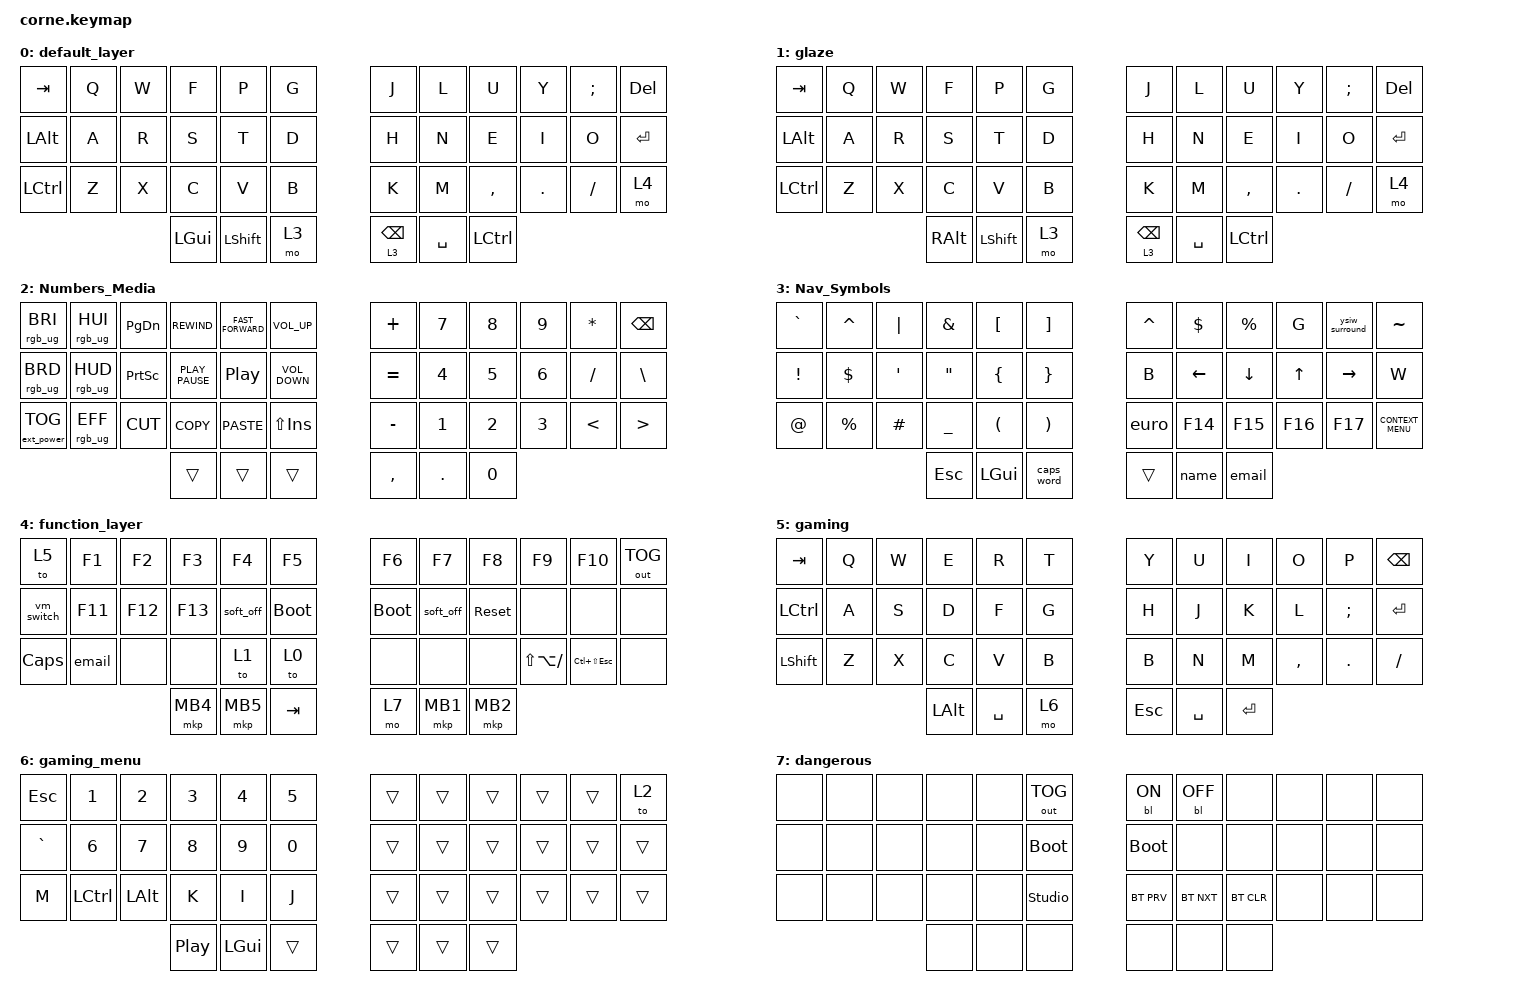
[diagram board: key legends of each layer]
#include <dt-bindings/zmk/mouse.h>
#include <behaviors.dtsi>
#include <dt-bindings/zmk/backlight.h>
#include <dt-bindings/zmk/bt.h>
#include <dt-bindings/zmk/ext_power.h>
#include <dt-bindings/zmk/keys.h>
#include <dt-bindings/zmk/outputs.h>
#include <dt-bindings/zmk/pointing.h>
#include <dt-bindings/zmk/rgb.h>

&led_strip { chain-length = <27>; };

/ {
    underglow {
        compatible = "zmk,rgb-underglow";
        label = "RGB Underglow";

        // Define total LED count

        chain-length = <27>;

        // Define the split for different effects

        segments = <6>, <21>;

        // Colors for each segment

        segment-colors =
            <0xFF0000>,
            // Red for the first 6 LEDs (underneath),,,,,,,,,,,,,,,,,
            <0x00FF00>;

        // Green for the next 21 LEDs (on top)
    };

    combos { compatible = "zmk,combos"; };

    macros {
        euro: euro {
            compatible = "zmk,behavior-macro";
            #binding-cells = <0>;
            bindings =
                <&macro_press>,
                <&kp LALT>,
                <&macro_tap>,
                <&kp KP_NUMBER_0 &kp KP_NUMBER_1 &kp KP_NUMBER_2 &kp KP_NUMBER_8>,
                <&macro_release>,
                <&kp LALT>;

            label = "EURO";
            wait-ms = <15>;
        };

        vm_switch: next_BG {
            compatible = "zmk,behavior-macro";
            #binding-cells = <0>;
            bindings = <&kp LC(LG(LA(ENTER)))>;
            label = "NEXT_BG";
            wait-ms = <15>;
        };

        email: email {
            compatible = "zmk,behavior-macro";
            #binding-cells = <0>;
            bindings = <&kp J &kp E &kp F &kp F &kp R &kp E &kp Y &kp DOT &kp C &kp O &kp R &kp N &kp I &kp L &kp L &kp I &kp E &kp AT &kp H &kp O &kp T &kp M &kp A &kp I &kp L &kp DOT &kp C &kp O &kp M>;
            label = "EMAIL";
        };

        name: name {
            compatible = "zmk,behavior-macro";
            #binding-cells = <0>;
            bindings = <&none &kp J &kp E &kp F &kp F &kp R &kp E &kp Y &kp SPACE &kp C &kp O &kp R &kp N &kp I &kp L &kp L &kp I &kp E>;
            label = "NAME";
        };

        ysiw_surround: ysiw_surround {
            compatible = "zmk,behavior-macro";
            #binding-cells = <0>;
            bindings = <&none &kp Y &kp S &kp I &kp W>;
            label = "YSIW_SURROUND";
        };
    };

    keymap {
        compatible = "zmk,keymap";

        default_layer {
            bindings = <
&kp TAB    &kp Q  &kp W  &kp F         &kp P           &kp G    &kp J            &kp L      &kp U      &kp Y    &kp SEMI  &kp DELETE
&kp LALT   &kp A  &kp R  &kp S         &kp T           &kp D    &kp H            &kp N      &kp E      &kp I    &kp O     &kp ENTER
&kp LCTRL  &kp Z  &kp X  &kp C         &kp V           &kp B    &kp K            &kp M      &kp COMMA  &kp DOT  &kp FSLH  &mo 4
                         &kp LEFT_GUI  &kp LEFT_SHIFT  &mo 3    &lt 3 BACKSPACE  &kp SPACE  &kp LCTRL
            >;
        };

        glaze {
            bindings = <
&kp TAB    &kp Q  &kp W  &kp F          &kp P           &kp G    &kp J            &kp L      &kp U      &kp Y    &kp SEMI  &kp DELETE
&kp LALT   &kp A  &kp R  &kp S          &kp T           &kp D    &kp H            &kp N      &kp E      &kp I    &kp O     &kp ENTER
&kp LCTRL  &kp Z  &kp X  &kp C          &kp V           &kp B    &kp K            &kp M      &kp COMMA  &kp DOT  &kp FSLH  &mo 4
                         &kp RIGHT_ALT  &kp LEFT_SHIFT  &mo 3    &lt 3 BACKSPACE  &kp SPACE  &kp LCTRL
            >;
        };

        Numbers_Media {
            bindings = <
&rgb_ug RGB_BRI    &rgb_ug RGB_HUI  &kp PAGE_DOWN    &kp C_REWIND      &kp C_FAST_FORWARD  &kp C_VOLUME_UP      &kp PLUS   &kp NUMBER_7  &kp NUMBER_8  &kp NUMBER_9  &kp ASTERISK   &kp BACKSPACE
&rgb_ug RGB_BRD    &rgb_ug RGB_HUD  &kp PRINTSCREEN  &kp K_PLAY_PAUSE  &kp C_PLAY_PAUSE    &kp C_VOLUME_DOWN    &kp EQUAL  &kp NUMBER_4  &kp NUMBER_5  &kp NUMBER_6  &kp SLASH      &kp BACKSLASH
&ext_power EP_TOG  &rgb_ug RGB_EFF  &kp K_CUT        &kp K_COPY        &kp K_PASTE         &kp LS(INSERT)       &kp MINUS  &kp N1        &kp N2        &kp N3        &kp LESS_THAN  &kp GREATER_THAN
                                                     &trans            &trans              &trans               &kp COMMA  &kp DOT       &kp NUMBER_0
            >;
        };

        Nav_Symbols {
            bindings = <
&kp GRAVE  &kp CARET    &kp PIPE          &kp AMPERSAND      &kp LEFT_BRACKET      &kp RIGHT_BRACKET        &kp CARET  &kp DOLLAR  &kp PERCENT  &kp G    &ysiw_surround  &kp TILDE
&kp EXCL   &kp DOLLAR   &kp SINGLE_QUOTE  &kp DOUBLE_QUOTES  &kp LEFT_BRACE        &kp RIGHT_BRACE          &kp B      &kp LEFT    &kp DOWN     &kp UP   &kp RIGHT       &kp W
&kp AT     &kp PERCENT  &kp POUND         &kp UNDERSCORE     &kp LEFT_PARENTHESIS  &kp RIGHT_PARENTHESIS    &euro      &kp F14     &kp F15      &kp F16  &kp F17         &kp K_CONTEXT_MENU
                                          &kp ESCAPE         &kp LEFT_GUI          &caps_word               &trans     &name       &email
            >;
        };

        function_layer {
            bindings = <
&to 5       &kp F1   &kp F2   &kp F3    &kp F4     &kp F5         &kp F6       &kp F7     &kp F8      &kp F9             &kp F10             &out OUT_TOG
&vm_switch  &kp F11  &kp F12  &kp F13   &soft_off  &bootloader    &bootloader  &soft_off  &sys_reset  &none              &none               &none
&kp CAPS    &email   &none    &none     &to 1      &to 0          &none        &none      &none       &kp LS(LA(SLASH))  &kp LC(LS(ESCAPE))  &none
                              &mkp MB4  &mkp MB5   &kp TAB        &mo 7        &mkp MB1   &mkp MB2
            >;
        };

        gaming {
            bindings = <
&kp TAB    &kp Q  &kp W  &kp E         &kp R      &kp T    &kp Y    &kp U      &kp I      &kp O      &kp P     &kp BSPC
&kp LCTRL  &kp A  &kp S  &kp D         &kp F      &kp G    &kp H    &kp J      &kp K      &kp L      &kp SEMI  &kp ENTER
&kp LSHFT  &kp Z  &kp X  &kp C         &kp V      &kp B    &kp B    &kp N      &kp M      &kp COMMA  &kp DOT   &kp FSLH
                         &kp LEFT_ALT  &kp SPACE  &mo 6    &kp ESC  &kp SPACE  &kp ENTER
            >;
        };

        gaming_menu {
            bindings = <
&kp ESC    &kp N1     &kp N2    &kp N3            &kp N4        &kp N5    &trans  &trans  &trans  &trans  &trans  &to 2
&kp GRAVE  &kp N6     &kp N7    &kp N8            &kp N9        &kp N0    &trans  &trans  &trans  &trans  &trans  &trans
&kp M      &kp LCTRL  &kp LALT  &kp K             &kp I         &kp J     &trans  &trans  &trans  &trans  &trans  &trans
                                &kp C_PLAY_PAUSE  &kp LEFT_GUI  &trans    &trans  &trans  &trans
            >;
        };

        dangerous {
            bindings = <
&none  &none  &none  &none  &none  &out OUT_TOG      &bl BL_ON    &bl BL_OFF  &none       &none  &none  &none
&none  &none  &none  &none  &none  &bootloader       &bootloader  &none       &none       &none  &none  &none
&none  &none  &none  &none  &none  &studio_unlock    &bt BT_PRV   &bt BT_NXT  &bt BT_CLR  &none  &none  &none
                     &none  &none  &none             &none        &none       &none
            >;
        };
    };
};
